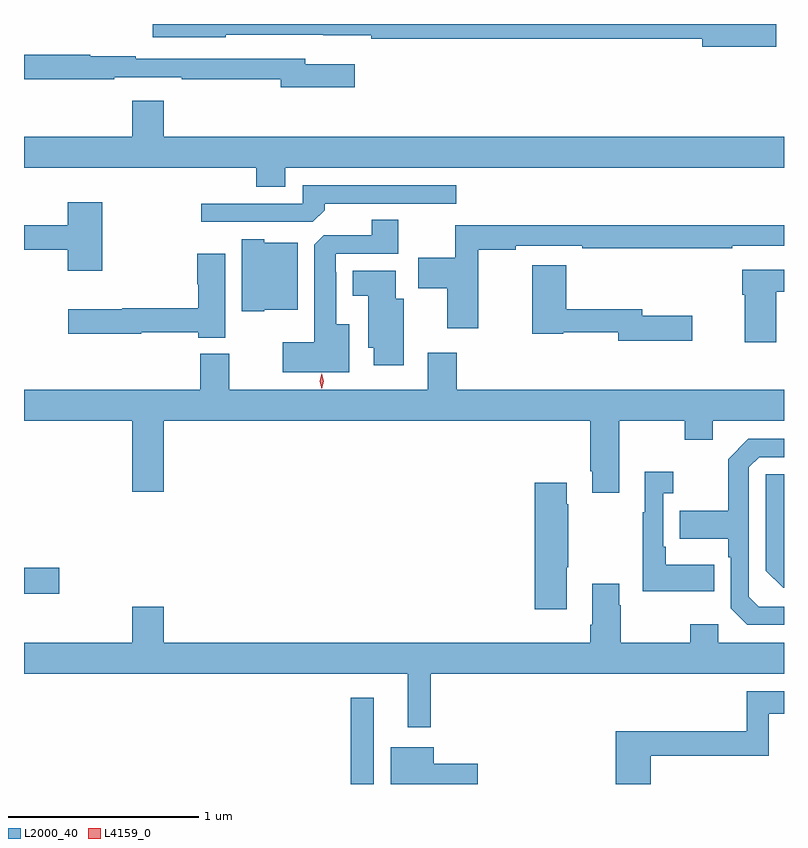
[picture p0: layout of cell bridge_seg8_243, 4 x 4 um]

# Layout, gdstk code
import gdstk
lib = gdstk.Library(unit=1e-6, precision=1e-09)
def R(c, l, rs):  # rectangles x0, y0, x1, y1
    for r in rs: c.add(gdstk.rectangle(r[:2], r[2:], *l))
def P(c, l, *ps):  # polygons
    for p in ps: c.add(gdstk.Polygon(p, *l))
L2000_40 = (2000, 40)
L4159_0 = (4159, 0)

bridge_seg8_243 = lib.new_cell('bridge_seg8_243')
R(bridge_seg8_243, L2000_40, [(274.05,1133.237,274.171,1133.692), (272.329,1134.239,272.515,1134.374)])
P(bridge_seg8_243, L2000_40, [(276.289,1137.237),(273.006,1137.237),(273.006,1137.167),(273.39,1137.167),(273.39,1137.18),(273.904,1137.18),(273.904,1137.179),(274.156,1137.179),(274.156,1137.16),(275.9,1137.16),(275.9,1137.118),(276.289,1137.118)],
  [(274.069,1137.025),(273.808,1137.025),(273.808,1137.054),(272.918,1137.054),(272.918,1137.067),(272.678,1137.067),(272.678,1137.074),(272.329,1137.074),(272.329,1136.946),(272.804,1136.946),(272.804,1136.958),(273.16,1136.958),(273.16,1136.946),(273.68,1136.946),(273.68,1136.903),(274.069,1136.903)],
  [(273.703,1136.48),(276.329,1136.48),(276.329,1136.644),(273.064,1136.644),(273.064,1136.833),(272.9,1136.833),(272.9,1136.644),(272.329,1136.644),(272.329,1136.48),(273.551,1136.48),(273.551,1136.381),(273.703,1136.381)],
  [(273.911,1136.258),(273.911,1136.292),(274.603,1136.292),(274.603,1136.388),(273.795,1136.388),(273.795,1136.292),(273.261,1136.292),(273.261,1136.196),(273.849,1136.196)],
  [(272.741,1136.299),(272.558,1136.299),(272.558,1136.179),(272.329,1136.179),(272.329,1136.05),(272.558,1136.05),(272.558,1135.938),(272.741,1135.938)],
  [(274.042,1135.657),(273.973,1135.657),(273.973,1135.931),(273.969,1135.931),(273.969,1136.028),(274.3,1136.028),(274.3,1136.207),(274.16,1136.207),(274.16,1136.124),(273.906,1136.124),(273.857,1136.075),(273.857,1135.561),(273.69,1135.561),(273.69,1135.403),(274.042,1135.403)],
  [(274.719,1136.05),(274.916,1136.05),(274.916,1136.07),(275.266,1136.07),(275.266,1136.058),(276.056,1136.058),(276.056,1136.07),(276.329,1136.07),(276.329,1136.179),(274.598,1136.179),(274.598,1136.008),(274.404,1136.008),(274.404,1135.846),(274.556,1135.846),(274.556,1135.635),(274.719,1135.635)],
  [(273.594,1135.733),(273.769,1135.733),(273.769,1136.086),(273.594,1136.086),(273.594,1136.104),(273.476,1136.104),(273.476,1135.724),(273.594,1135.724)],
  [(273.388,1136.029),(273.242,1136.029),(273.242,1135.868),(273.247,1135.868),(273.247,1135.742),(272.846,1135.742),(272.846,1135.735),(272.562,1135.735),(272.562,1135.606),(272.946,1135.606),(272.946,1135.614),(273.247,1135.614),(273.247,1135.586),(273.388,1135.586)],
  [(275.845,1135.701),(275.584,1135.701),(275.584,1135.735),(275.183,1135.735),(275.183,1135.966),(275.005,1135.966),(275.005,1135.606),(275.166,1135.606),(275.166,1135.614),(275.456,1135.614),(275.456,1135.571),(275.845,1135.571)],
  [(276.288,1135.828),(276.329,1135.828),(276.329,1135.944),(276.11,1135.944),(276.11,1135.811),(276.122,1135.811),(276.122,1135.563),(276.288,1135.563)],
  [(274.327,1135.792),(274.285,1135.792),(274.285,1135.939),(274.058,1135.939),(274.058,1135.808),(274.142,1135.808),(274.142,1135.533),(274.169,1135.533),(274.169,1135.44),(274.327,1135.44)],
  [(275.461,1135.148),(275.806,1135.148),(275.806,1135.049),(275.953,1135.049),(275.953,1135.148),(276.329,1135.148),(276.329,1135.312),(274.607,1135.312),(274.607,1135.507),(274.454,1135.507),(274.454,1135.312),(273.409,1135.312),(273.409,1135.501),(273.257,1135.501),(273.257,1135.312),(272.329,1135.312),(272.329,1135.148),(272.9,1135.148),(272.9,1134.774),(273.064,1134.774),(273.064,1135.148),(275.309,1135.148),(275.309,1134.883),(275.321,1134.883),(275.321,1134.771),(275.461,1134.771)],
  [(276.329,1134.171),(276.195,1134.171),(276.144,1134.222),(276.144,1134.903),(276.198,1134.957),(276.329,1134.957),(276.329,1135.053),(276.141,1135.053),(276.036,1134.947),(276.036,1134.675),(275.779,1134.675),(275.779,1134.527),(276.036,1134.527),(276.036,1134.431),(276.048,1134.431),(276.048,1134.162),(276.135,1134.075),(276.329,1134.075)],
  [(275.963,1134.391),(275.707,1134.391),(275.707,1134.487),(275.694,1134.487),(275.694,1134.767),(275.746,1134.767),(275.746,1134.88),(275.597,1134.88),(275.597,1134.667),(275.586,1134.667),(275.586,1134.251),(275.963,1134.251)],
  [(276.329,1134.867),(276.234,1134.867),(276.234,1134.36),(276.324,1134.27),(276.329,1134.27)],
  [(275.185,1134.379),(275.193,1134.379),(275.193,1134.71),(275.185,1134.71),(275.185,1134.823),(275.018,1134.823),(275.018,1134.156),(275.185,1134.156)],
  [(274.471,1133.816),(276.329,1133.816),(276.329,1133.98),(275.982,1133.98),(275.982,1134.079),(275.836,1134.079),(275.836,1133.98),(275.469,1133.98),(275.469,1134.179),(275.461,1134.179),(275.461,1134.292),(275.321,1134.292),(275.321,1134.076),(275.309,1134.076),(275.309,1133.98),(273.064,1133.98),(273.064,1134.169),(272.9,1134.169),(272.9,1133.98),(272.329,1133.98),(272.329,1133.816),(274.349,1133.816),(274.349,1133.535),(274.471,1133.535)],
  [(275.627,1133.386),(276.249,1133.386),(276.249,1133.608),(276.329,1133.608),(276.329,1133.724),(276.133,1133.724),(276.133,1133.515),(275.444,1133.515),(275.444,1133.237),(275.627,1133.237)],
  [(274.717,1133.343),(274.486,1133.343),(274.486,1133.431),(274.259,1133.431),(274.259,1133.237),(274.717,1133.237)])
P(bridge_seg8_243, L4159_0, [(273.896,1135.316),(273.895,1135.317),(273.886,1135.357),(273.896,1135.398),(273.896,1135.398),(273.896,1135.398),(273.906,1135.357),(273.896,1135.317)])

lib.write_gds('bridge_seg8_243.gds')
